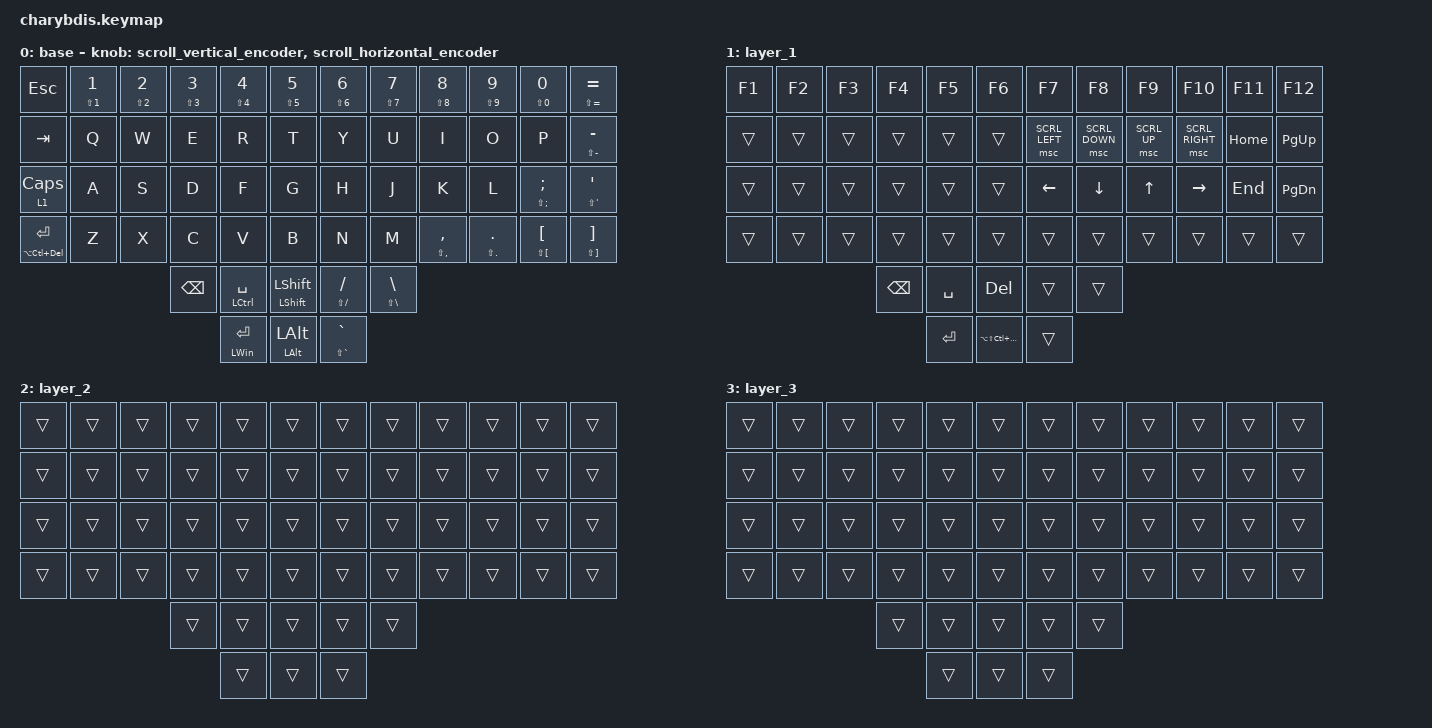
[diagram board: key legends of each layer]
#include <dt-bindings/zmk/mouse.h>
#include <input/processors.dtsi>
#include <zephyr/dt-bindings/input/input-event-codes.h>
#include <behaviors.dtsi>
#include <dt-bindings/zmk/keys.h>
#include <dt-bindings/zmk/pointing.h>

#define ZMK_POINTING_DEFAULT_MOVE_VAL 1200 // 600
#define ZMK_POINTING_DEFAULT_SCRL_VAL 12   // 10

&lt {
    tapping-term-ms = <200>;
    flavor = "tap-preferred";
    quick-tap-ms = <170>;
};

&mt {
    quick-tap-ms = <200>;
    flavor = "hold-preferred";
    tapping-term-ms = <300>;
};

&mmv_input_listener { input-processors = <&zip_xy_scaler 3 1>; };

&msc_input_listener { input-processors = <&zip_scroll_scaler 2 1>; };

&msc {
    acceleration-exponent = <0>;      // 0
    time-to-max-speed-ms = <100>;       // 300
    delay-ms = <0>;                   // 0
};

&mmv {
    time-to-max-speed-ms = <500>;
    acceleration-exponent = <1>;
    trigger-period-ms = <16>;
};

&sk {
    quick-release;
    release-after-ms = <1000>;
};

&sl { release-after-ms = <1000>; };

/ {
    // 上下滚动编码器行为

    scroll_vertical_encoder: scroll_vertical_encoder {
        compatible = "zmk,behavior-sensor-rotate";
        #sensor-binding-cells = <0>;
        bindings = <&msc SCRL_DOWN>, <&msc SCRL_UP>;

        tap-ms = <100>;
    };

    // 左右滚动编码器行为

    scroll_horizontal_encoder: scroll_horizontal_encoder {
        compatible = "zmk,behavior-sensor-rotate";
        #sensor-binding-cells = <0>;
        bindings = <&msc SCRL_LEFT>, <&msc SCRL_RIGHT>;

        tap-ms = <100>;
    };

    behaviors {
        // Hold-tap behavior for layer with tap-preferred

        blt: blt {
            compatible = "zmk,behavior-hold-tap";
            #binding-cells = <2>;
            flavor = "tap-preferred";
            tapping-term-ms = <200>;
            quick-tap-ms = <300>;
            require-prior-idle-ms = <100>;
            bindings = <&mo>, <&kp>;
        };

        // Tap-dance for GUI/Ctrl+B

        gui_ctrlb: gui_ctrlb {
            compatible = "zmk,behavior-tap-dance";
            #binding-cells = <0>;
            tapping-term-ms = <200>;
            bindings = <&kp LGUI>, <&kp LC(B)>;
        };

        // Tap/hold Alt, double-tap Ctrl+Shift+Z

        lalt_dt: lalt_dt {
            compatible = "zmk,behavior-tap-dance";
            #binding-cells = <0>;
            tapping-term-ms = <200>;
            bindings = <&kp LALT>, <&kp LC(LS(Z))>;
        };

        // Home row mods - Left hand

        hml: home_row_mod_left {
            compatible = "zmk,behavior-hold-tap";
            #binding-cells = <2>;
            flavor = "balanced";
            require-prior-idle-ms = <125>;
            tapping-term-ms = <280>;
            quick-tap-ms = <500>;
            bindings = <&sk>, <&kp>;

            hold-trigger-key-positions = <6 7 8 9 10 11 18 19 20 21 22 23 30 31 32 33 34 35 42 43 44 45 46 47 53 55 54 48 49 50 51 52>; // Right side keys
            hold-trigger-on-release;
        };

        // Home row mods - Right hand

        hmr: home_row_mod_right {
            compatible = "zmk,behavior-hold-tap";
            #binding-cells = <2>;
            flavor = "balanced";
            require-prior-idle-ms = <125>;
            tapping-term-ms = <280>;
            quick-tap-ms = <175>;
            bindings = <&sk>, <&kp>;

            hold-trigger-key-positions = <0 1 2 3 4 5 12 13 14 15 16 17 24 25 26 27 28 29 36 37 38 39 40 41 48 49 50 51 52 54 53 55>; // Left side keys
            hold-trigger-on-release;
        };

        // chain sticky key modifiers

        skq: sticky_key_quick_release {
            compatible = "zmk,behavior-sticky-key";
            #binding-cells = <1>;
            bindings = <&kp>;
            release-after-ms = <1000>;
            quick-release;
            ignore-modifiers;
        };

        // CAPSLOCK on a single tap, LSHIFT on a single press and hold, and LCTRL when the tap-dance is pressed twice

        td_cs: caps_shift_tap_dance {
            compatible = "zmk,behavior-tap-dance";
            #binding-cells = <0>;
            tapping-term-ms = <200>;
            bindings = <&kp LEFT_SHIFT>, <&double_shift>, <&kp CAPSLOCK>;
        };

        graesc: grave_escape {
            compatible = "zmk,behavior-mod-morph";
            label = "GRAVE_ESCAPE";
            bindings = <&kp ESCAPE>, <&kp GRAVE>;

            #binding-cells = <0>;
            mods = <(MOD_LCTL|MOD_LSFT|MOD_LALT|MOD_LGUI|MOD_RSFT|MOD_RCTL|MOD_RALT|MOD_RGUI)>;
        };

        tap_key_hold_mouse: tap_kp_hold_mkp {
            compatible = "zmk,behavior-hold-tap";
            label = "tap key, hold mouse key";
            bindings = <&mkp>, <&kp>;

            #binding-cells = <2>;
            tapping-term-ms = <200>;
            flavor = "tap-preferred";
        };

        mkp_mo: tap_mkp_hold_mo {
            compatible = "zmk,behavior-hold-tap";
            bindings = <&sl>, <&mkp>;

            #binding-cells = <2>;
            tapping-term-ms = <280>;
            flavor = "balanced";
        };

        mkp_mkp: t_mkp_h_mkp {
            compatible = "zmk,behavior-hold-tap";
            bindings = <&mkp>, <&mkp>;

            #binding-cells = <2>;
            tapping-term-ms = <300>;
            flavor = "balanced";
        };

        mt2: mod_tap_v2 {
            compatible = "zmk,behavior-hold-tap";
            bindings = <&kp>, <&kp>;

            #binding-cells = <2>;
            tapping-term-ms = <350>;
            quick-tap-ms = <175>;
            require-prior-idle-ms = <125>;
            flavor = "tap-preferred";
            hold-trigger-on-release;
        };

        kp_sl: tap_kp_hold_sl {
            compatible = "zmk,behavior-hold-tap";
            label = "TAP_KP_HOLD_SL";
            bindings = <&sl>, <&kp>;

            #binding-cells = <2>;
            tapping-term-ms = <280>;
            flavor = "balanced";
            quick-tap-ms = <500>;
            require-prior-idle-ms = <125>;
            hold-trigger-on-release;
        };

        tap_gresc_hold_kp: tap_gresc_hold_kp {
            compatible = "zmk,behavior-hold-tap";
            label = "TAP_GRESC_HOLD_KP";
            bindings = <&kp>, <&gresc>;

            #binding-cells = <2>;
            tapping-term-ms = <500>;
            quick-tap-ms = <200>;
            require-prior-idle-ms = <200>;
            flavor = "balanced";
        };

        kp_sk: tap_kp_hold_sk {
            compatible = "zmk,behavior-hold-tap";
            label = "TAP_KP_HOLD_SK";
            bindings = <&sk>, <&kp>;

            #binding-cells = <2>;
            tapping-term-ms = <280>;
            flavor = "balanced";
            quick-tap-ms = <175>;
            require-prior-idle-ms = <125>;
            hold-trigger-on-release;
        };

        mice_key: tap_mice_hold_key {
            compatible = "zmk,behavior-hold-tap";
            label = "tap_mice_hold_key";
            bindings = <&kp>, <&mkp>;

            #binding-cells = <2>;
            tapping-term-ms = <200>;
            flavor = "tap-preferred";
        };

        hr: home_row {
            compatible = "zmk,behavior-hold-tap";
            #binding-cells = <2>;
            flavor = "balanced";
            require-prior-idle-ms = <125>;
            tapping-term-ms = <280>;
            quick-tap-ms = <500>;
            bindings = <&sk>, <&kp>;

            hold-trigger-on-release;
            label = "home row";
        };

        macro_mt: macro_mt {
            compatible = "zmk,behavior-hold-tap";
            bindings = <&brackets>, <&brace>;

            #binding-cells = <2>;
            tapping-term-ms = <400>;
            quick-tap-ms = <175>;
            require-prior-idle-ms = <125>;
            flavor = "tap-preferred";
            hold-trigger-on-release;
            label = "MACRO_MT";
        };

        mo_sl: mo_sl {
            compatible = "zmk,behavior-hold-tap";
            label = "MO_SL";
            bindings = <&sl>, <&mo>;

            #binding-cells = <2>;
            tapping-term-ms = <280>;
            flavor = "balanced";
            quick-tap-ms = <500>;
            require-prior-idle-ms = <125>;
            hold-trigger-on-release;
        };
    };

    macros {
        // Ctrl+Alt+Cmd macro
        // Ctrl+Shift+Alt macro
        // Ctrl+Alt macro
        // Hold Ctrl+Cmd+Left Click while key is pressed (for mouse drag window actions)

        lock: lock {
            compatible = "zmk,behavior-macro";
            #binding-cells = <0>;
            bindings = <&kp LC(LA(DELETE))>;
            label = "LOCK";
        };

        double_shift: double_shift {
            compatible = "zmk,behavior-macro";
            #binding-cells = <0>;
            bindings = <&kp LEFT_SHIFT &kp LEFT_SHIFT>;
            label = "DOUBLE_SHIFT";
        };

        brace: brace {
            compatible = "zmk,behavior-macro";
            #binding-cells = <0>;
            bindings = <&kp LEFT_BRACKET &kp RIGHT_BRACKET &kp LEFT_ARROW>;
            label = "BRACE";
        };

        brackets: brackts {
            compatible = "zmk,behavior-macro";
            #binding-cells = <0>;
            bindings = <&kp LS(LEFT_BRACKET) &kp LS(RIGHT_BRACKET) &kp LEFT_ARROW>;
            label = "BRACKTS";
        };
    };

    combos {
        compatible = "zmk,combos";
        timeout-ms = <20>;
        require-prior-idle-ms = <250>;

        // Studio Unlock Combo - all three right thumb keys

        sender {
            bindings = <&kp LC(ENTER)>;
            key-positions = <53 49>;
            timeout-ms = <120>;
        };

        powerrun {
            bindings = <&kp LC(SPACE)>;
            key-positions = <48 49>;
            timeout-ms = <200>;
        };

        enter {
            bindings = <&kp ENTER>;
            key-positions = <24 53>;
            timeout-ms = <200>;
        };

        ps {
            bindings = <&kp LS(PRINTSCREEN)>;
            key-positions = <48 54 53 49 50>;
            timeout-ms = <200>;
        };

        backspace {
            bindings = <&kp BACKSPACE>;
            key-positions = <24 48>;
            timeout-ms = <200>;
        };

        space {
            bindings = <&kp SPACE>;
            key-positions = <24 49>;
            timeout-ms = <200>;
        };

        delete {
            bindings = <&kp DELETE>;
            key-positions = <24 50>;
            timeout-ms = <200>;
        };

        copy {
            bindings = <&kp LC(C)>;
            key-positions = <49 39>;
        };

        paste {
            bindings = <&kp LC(V)>;
            key-positions = <49 40>;
        };

        cut {
            bindings = <&kp LC(X)>;
            key-positions = <49 38>;
        };

        undo {
            bindings = <&kp LC(Z)>;
            key-positions = <49 37>;
        };

        select-all {
            bindings = <&kp LC(A)>;
            key-positions = <49 25>;
        };

        find {
            bindings = <&kp LC(F)>;
            key-positions = <49 28>;
        };

        save {
            bindings = <&kp LC(S)>;
            key-positions = <49 26>;
        };
    };

    keymap {
        compatible = "zmk,keymap";

        base {
            bindings = <
&kp ESCAPE                 &mt2 LS(N1) N1  &mt2 LS(N2) N2  &mt2 LS(N3) N3  &mt2 LS(NUMBER_4) NUMBER_4  &mt2 LS(N5) N5                &mt2 LS(N6) N6        &mt2 LS(N7) N7                &mt2 LS(N8) N8        &mt2 LS(N9) N9          &mt2 LS(N0) N0                      &mt2 LS(EQUAL) EQUAL
&kp TAB                    &kp Q           &kp W           &kp E           &kp R                       &kp T                         &kp Y                 &kp U                         &kp I                 &kp O                   &kp P                               &mt2 LS(MINUS) MINUS
&kp_sl 1 CAPS              &kp A           &kp S           &kp D           &kp F                       &kp G                         &kp H                 &kp J                         &kp K                 &kp L                   &mt2 LS(SEMICOLON) SEMICOLON        &mt2 LS(SQT) SQT
&hml LA(LC(DELETE)) ENTER  &kp Z           &kp X           &kp C           &kp V                       &kp B                         &kp N                 &kp M                         &mt2 LS(COMMA) COMMA  &mt2 LS(PERIOD) PERIOD  &mt2 LS(LEFT_BRACKET) LEFT_BRACKET  &mt2 LS(RIGHT_BRACKET) RIGHT_BRACKET
                                                           &kp BACKSPACE   &hml LEFT_CONTROL SPACE     &hml LEFT_SHIFT LEFT_SHIFT    &mt2 LS(SLASH) SLASH  &mt2 LS(BACKSLASH) BACKSLASH
                                                                           &hml LEFT_WIN ENTER         &hml LEFT_ALT LEFT_ALT        &mt2 LS(GRAVE) GRAVE
            >;

            sensor-bindings =
                <&scroll_vertical_encoder>,
                // 编码器1：上下滚动,,,,,,,,,,,,,,,,,,,,,,,,,,,,,,,,,,,,,,,,,,,,,,,,,,,,,,,,,,,,,,,,,,,,,,,,,,,,,,,,,,,,,,,,,,,,,,,,,,,,,,,,,,,,,,,,,,,,,,,,,,,,,,,,,,,,,,,,,,,,,,,,
                <&scroll_horizontal_encoder>;

            // 编码器2：左右滚动
        };

        layer_1 {
            bindings = <
&kp F1  &kp F2  &kp F3  &kp F4         &kp F5     &kp F6                     &kp F7          &kp F8          &kp F9        &kp F10          &kp F11   &kp F12
&trans  &trans  &trans  &trans         &trans     &trans                     &msc SCRL_LEFT  &msc SCRL_DOWN  &msc SCRL_UP  &msc SCRL_RIGHT  &kp HOME  &kp PAGE_UP
&trans  &trans  &trans  &trans         &trans     &trans                     &kp LEFT_ARROW  &kp DOWN_ARROW  &kp UP_ARROW  &kp RIGHT_ARROW  &kp END   &kp PAGE_DOWN
&trans  &trans  &trans  &trans         &trans     &trans                     &trans          &trans          &trans        &trans           &trans    &trans
                        &kp BACKSPACE  &kp SPACE  &kp DELETE                 &trans          &trans
                                       &kp ENTER  &kp LA(LS(LC(LG(F20))))    &trans
            >;
        };

        layer_2 {
            bindings = <
&trans  &trans  &trans  &trans  &trans  &trans    &trans  &trans  &trans  &trans  &trans  &trans
&trans  &trans  &trans  &trans  &trans  &trans    &trans  &trans  &trans  &trans  &trans  &trans
&trans  &trans  &trans  &trans  &trans  &trans    &trans  &trans  &trans  &trans  &trans  &trans
&trans  &trans  &trans  &trans  &trans  &trans    &trans  &trans  &trans  &trans  &trans  &trans
                        &trans  &trans  &trans    &trans  &trans
                                &trans  &trans    &trans
            >;
        };

        layer_3 {
            bindings = <
&trans  &trans  &trans  &trans  &trans  &trans    &trans  &trans  &trans  &trans  &trans  &trans
&trans  &trans  &trans  &trans  &trans  &trans    &trans  &trans  &trans  &trans  &trans  &trans
&trans  &trans  &trans  &trans  &trans  &trans    &trans  &trans  &trans  &trans  &trans  &trans
&trans  &trans  &trans  &trans  &trans  &trans    &trans  &trans  &trans  &trans  &trans  &trans
                        &trans  &trans  &trans    &trans  &trans
                                &trans  &trans    &trans
            >;
        };
    };
};
